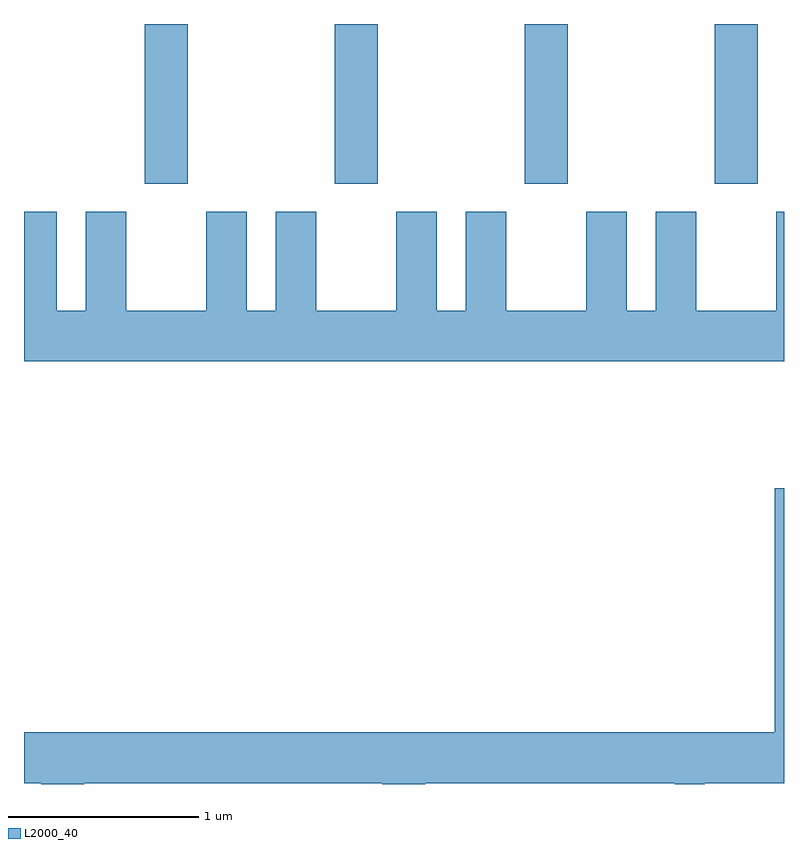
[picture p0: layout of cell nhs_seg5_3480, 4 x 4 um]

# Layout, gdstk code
import gdstk
lib = gdstk.Library(unit=1e-6, precision=1e-09)
def R(c, l, rs):  # rectangles x0, y0, x1, y1
    for r in rs: c.add(gdstk.rectangle(r[:2], r[2:], *l))
def A(c, l, x, y, w, h, nx, ny, dx, dy):  # array of equal rectangles
    R(c, l, [(x+i*dx, y+j*dy, x+i*dx+w, y+j*dy+h) for i in range(nx) for j in range(ny)])
def P(c, l, *ps):  # polygons
    for p in ps: c.add(gdstk.Polygon(p, *l))
L2000_40 = (2000, 40)

nhs_seg5_3480 = lib.new_cell('nhs_seg5_3480')
A(nhs_seg5_3480, L2000_40, 288.246, 1513.231, 0.228, 0.841, 4, 1, 1, 0)
P(nhs_seg5_3480, L2000_40, [(291.611,1513.084),(291.571,1513.084),(291.571,1512.564),(291.149,1512.564),(291.149,1513.084),(290.936,1513.084),(290.936,1512.564),(290.784,1512.564),(290.784,1513.084),(290.571,1513.084),(290.571,1512.564),(290.149,1512.564),(290.149,1513.084),(289.936,1513.084),(289.936,1512.564),(289.784,1512.564),(289.784,1513.084),(289.571,1513.084),(289.571,1512.564),(289.149,1512.564),(289.149,1513.084),(288.936,1513.084),(288.936,1512.564),(288.784,1512.564),(288.784,1513.084),(288.571,1513.084),(288.571,1512.564),(288.149,1512.564),(288.149,1513.084),(287.936,1513.084),(287.936,1512.564),(287.784,1512.564),(287.784,1513.084),(287.611,1513.084),(287.611,1512.296),(291.611,1512.296)],
  [(287.929,1510.076),(289.496,1510.076),(289.496,1510.072),(289.724,1510.072),(289.724,1510.076),(291.036,1510.076),(291.036,1510.072),(291.194,1510.072),(291.194,1510.076),(291.611,1510.076),(291.611,1511.629),(291.561,1511.629),(291.561,1510.344),(287.611,1510.344),(287.611,1510.076),(287.701,1510.076),(287.701,1510.072),(287.929,1510.072)])

lib.write_gds('nhs_seg5_3480.gds')
